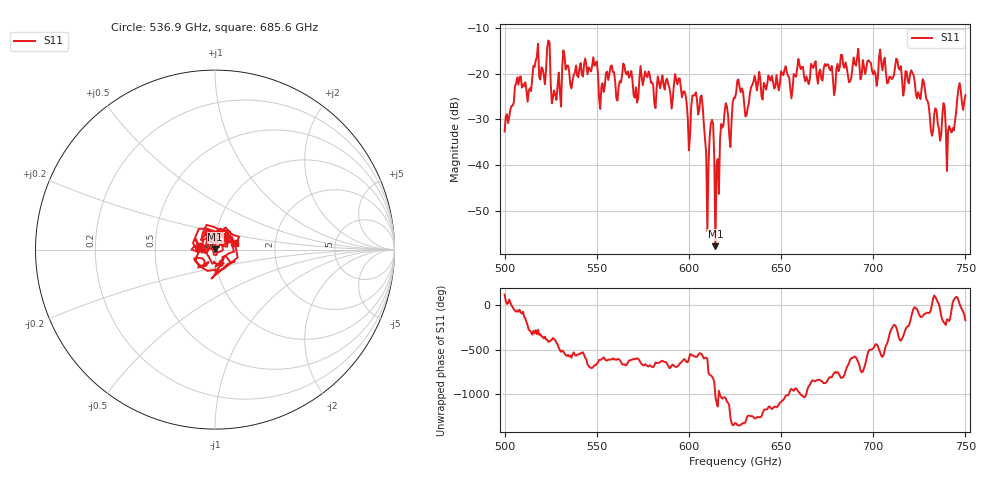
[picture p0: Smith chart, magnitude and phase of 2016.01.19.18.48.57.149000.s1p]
!Created with skrf (http://scikit-rf.org).
# GHz S RI R 50.0
!freq ReS11 ImS11
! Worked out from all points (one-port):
!   401 points, 500 GHz to 750 GHz, reference 50 ohm
!   lowest |S11| = -57.7 dB at 614.4 GHz (marker M1), VSWR 1.00, Z = 50.1 + j0.0998 ohm
!   |S11| at or under -10 dB: start of sweep to end of sweep
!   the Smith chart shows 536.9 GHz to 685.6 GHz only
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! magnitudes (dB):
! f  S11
! 500 GHz  -32.6
! 507.5 GHz  -22.4
! 513.8 GHz  -23.2
! 516.9 GHz  -17.1
! 523.8 GHz  -12.7
! 526.9 GHz  -23.7
! 531.2 GHz  -18.7
! 548.8 GHz  -18.2
! 562.5 GHz  -21.6
! 593.8 GHz  -22.3
! 600 GHz  -36.8
! 602.5 GHz  -24.7
! 606.9 GHz  -24.8
! 609.4 GHz  -37.4
! 612.5 GHz  -30.1
! 614.4 GHz  -57.7
! 615.6 GHz  -38.7
! 618.8 GHz  -31.2
! 622.5 GHz  -36.0
! 625 GHz  -25.3
! 656.2 GHz  -23.2
! 660.6 GHz  -19.0
! 687.5 GHz  -21.6
! 690.6 GHz  -18.2
! 718.8 GHz  -21.7
! 741.2 GHz  -31.4
! 746.2 GHz  -23.3
! 750 GHz  -24.7
